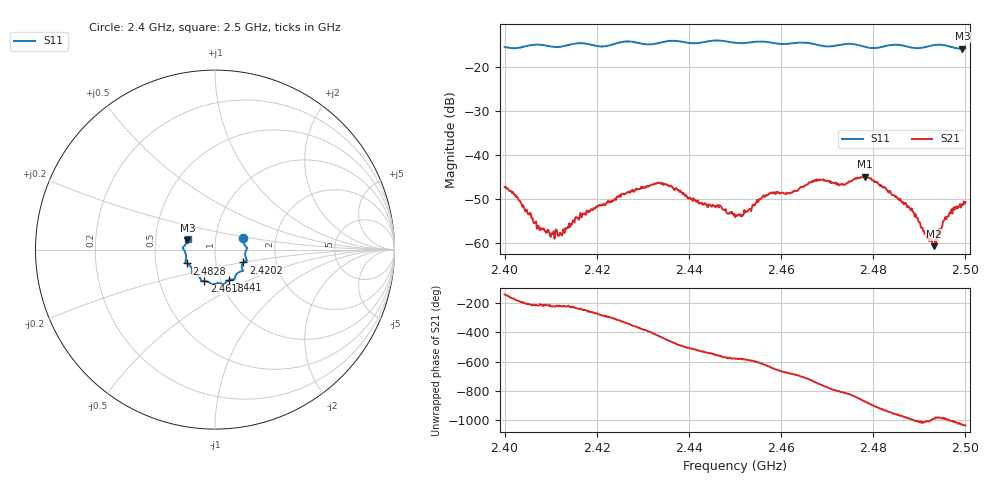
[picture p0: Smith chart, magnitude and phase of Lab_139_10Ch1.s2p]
# Hz S RI R 50
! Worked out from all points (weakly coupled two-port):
!   601 points, 2.4 GHz to 2.5 GHz, reference 50 ohm
!   highest |S21| = -44.88 dB at 2.4782 GHz (marker M1); lowest = -60.7 dB at 2.4932 GHz (marker M2)
!   lowest |S11| = -15.8 dB at 2.4993 GHz (marker M3), VSWR 1.39, Z = 36.5 + j3.84 ohm
!   |S11| at or under -10 dB: start of sweep to end of sweep
!   S12 and S22 are empty: the file has one direction only
!   S11 on the Smith chart (normalised r, x): 2.4 GHz: 1.36, +0.18; 2.4202 GHz: 1.36, -0.20; 2.441 GHz: 1.10, -0.39; 2.4618 GHz: 0.84, -0.30; 2.4828 GHz: 0.72, -0.11; 2.5 GHz: 0.73, +0.09
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2.4e9  0.158 0.0627  -0.00353 -0.00258  0 0  0 0
2.402333e9  0.1606 0.0348  -0.00355 -9.4e-05  0 0  0 0
2.4075e9  0.1804 0.00834  -0.00116 0.000885  0 0  0 0
2.410333e9  0.1709 -0.00919  -0.000915 0.000888  0 0  0 0
2.412e9  0.1682 -0.0281  -0.000995 0.000856  0 0  0 0
2.416667e9  0.1775 -0.0606  -0.000858 0.00176  0 0  0 0
2.420167e9  0.1583 -0.0713  0.000232 0.00258  0 0  0 0
2.433333e9  0.1118 -0.151  0.00218 -0.00433  0 0  0 0
2.441e9  0.0785 -0.1697  -0.00297 -0.00131  0 0  0 0
2.45e9  0.0283 -0.1874  -0.00154 0.00124  0 0  0 0
2.457667e9  -0.0229 -0.1898  0.000539 0.00368  0 0  0 0
2.461833e9  -0.0592 -0.1757  0.00287 0.00231  0 0  0 0
2.466667e9  -0.0786 -0.1682  0.00494 -0.000725  0 0  0 0
2.4735e9  -0.1229 -0.1347  2.25e-05 -0.00458  0 0  0 0
2.478167e9  -0.1271 -0.114  -0.005 -0.00273  0 0  0 0
2.482833e9  -0.1572 -0.0769  -0.00341 0.00225  0 0  0 0
2.483333e9  -0.1604 -0.0755  -0.0028 0.00252  0 0  0 0
2.488333e9  -0.161 -0.0456  0.000172 0.00248  0 0  0 0
2.493167e9  -0.1785 0.00506  -2.81e-05 0.000926  0 0  0 0
2.495667e9  -0.1763 0.015  1.07e-05 0.00198  0 0  0 0
2.499333e9  -0.1537 0.0512  0.00182 0.00212  0 0  0 0
2.5e9  -0.1521 0.0608  0.00204 0.00211  0 0  0 0
